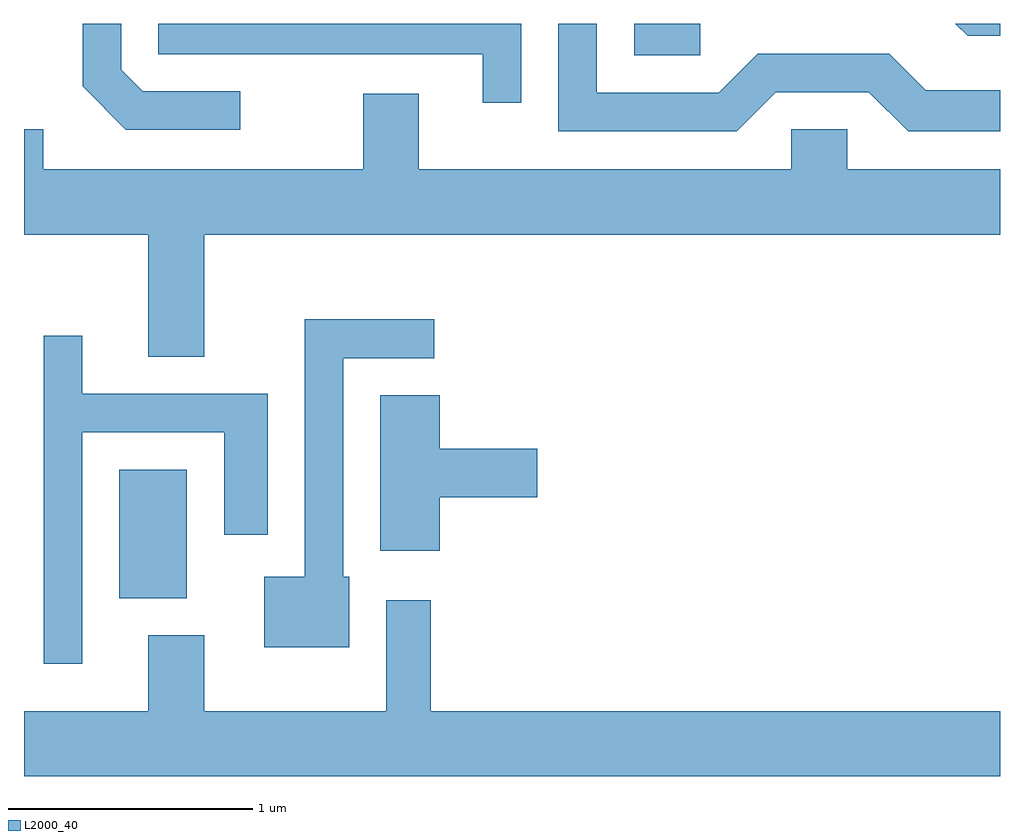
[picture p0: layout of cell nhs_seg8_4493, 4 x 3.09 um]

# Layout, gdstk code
import gdstk
lib = gdstk.Library(unit=1e-6, precision=1e-09)
def R(c, l, rs):  # rectangles x0, y0, x1, y1
    for r in rs: c.add(gdstk.rectangle(r[:2], r[2:], *l))
def P(c, l, *ps):  # polygons
    for p in ps: c.add(gdstk.Polygon(p, *l))
L2000_40 = (2000, 40)

nhs_seg8_4493 = lib.new_cell('nhs_seg8_4493')
R(nhs_seg8_4493, L2000_40, [(320.001,1885.986,320.279,1886.514), (322.111,1888.211,322.383,1888.342)])
P(nhs_seg8_4493, L2000_40, [(320.498,1888.064),(320.097,1888.064),(320.009,1888.152),(320.009,1888.342),(319.851,1888.342),(319.851,1888.084),(320.029,1887.906),(320.498,1887.906)],
  [(321.649,1888.342),(320.161,1888.342),(320.161,1888.216),(321.491,1888.216),(321.491,1888.018),(321.649,1888.018)],
  [(322.692,1888.061),(323.074,1888.061),(323.234,1887.901),(323.611,1887.901),(323.611,1888.069),(323.307,1888.069),(323.157,1888.219),(322.619,1888.219),(322.459,1888.059),(321.959,1888.059),(321.959,1888.342),(321.801,1888.342),(321.801,1887.901),(322.532,1887.901)],
  [(323.611,1888.342),(323.428,1888.342),(323.479,1888.291),(323.611,1888.291)],
  [(320.349,1887.476),(323.611,1887.476),(323.611,1887.744),(322.984,1887.744),(322.984,1887.909),(322.756,1887.909),(322.756,1887.744),(321.229,1887.744),(321.229,1888.054),(321.001,1888.054),(321.001,1887.744),(319.689,1887.744),(319.689,1887.909),(319.611,1887.909),(319.611,1887.476),(320.121,1887.476),(320.121,1886.976),(320.349,1886.976)],
  [(320.944,1886.074),(320.919,1886.074),(320.919,1886.971),(321.293,1886.971),(321.293,1887.129),(320.761,1887.129),(320.761,1886.074),(320.596,1886.074),(320.596,1885.786),(320.944,1885.786)],
  [(319.849,1886.666),(320.431,1886.666),(320.431,1886.246),(320.609,1886.246),(320.609,1886.824),(319.849,1886.824),(319.849,1887.063),(319.691,1887.063),(319.691,1885.718),(319.849,1885.718)],
  [(321.314,1886.401),(321.714,1886.401),(321.714,1886.599),(321.314,1886.599),(321.314,1886.819),(321.071,1886.819),(321.071,1886.181),(321.314,1886.181)],
  [(323.611,1885.524),(321.279,1885.524),(321.279,1885.979),(321.096,1885.979),(321.096,1885.524),(320.349,1885.524),(320.349,1885.834),(320.121,1885.834),(320.121,1885.524),(319.611,1885.524),(319.611,1885.256),(323.611,1885.256)])

lib.write_gds('nhs_seg8_4493.gds')
